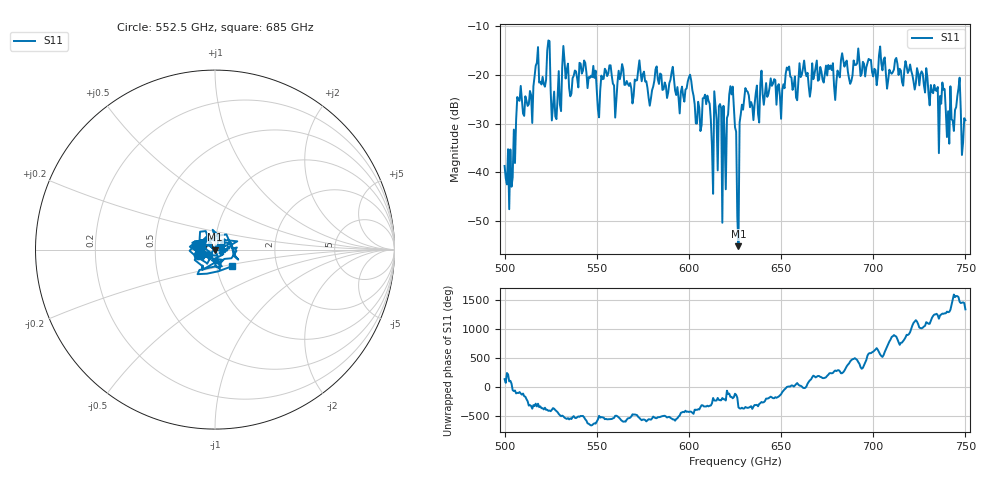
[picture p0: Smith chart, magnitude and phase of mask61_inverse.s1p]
!Created with skrf (http://scikit-rf.org).
# GHz S MA R 50.0
!freq magS11 angS11
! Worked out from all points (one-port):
!   401 points, 500 GHz to 750 GHz, reference 50 ohm
!   lowest |S11| = -55.2 dB at 626.9 GHz (marker M1), VSWR 1.00, Z = 50.2 + j0.0151 ohm
!   |S11| at or under -10 dB: start of sweep to end of sweep
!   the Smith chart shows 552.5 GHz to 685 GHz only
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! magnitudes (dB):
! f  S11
! 500 GHz  -38.7
! 503.8 GHz  -43.0
! 508.1 GHz  -25.3
! 513.8 GHz  -23.3
! 516.9 GHz  -18.1
! 523.8 GHz  -12.9
! 526.9 GHz  -23.4
! 531.2 GHz  -18.3
! 542.5 GHz  -19.1
! 551.2 GHz  -28.7
! 562.5 GHz  -20.8
! 593.8 GHz  -22.5
! 610 GHz  -24.2
! 611.9 GHz  -29.1
! 616.2 GHz  -26.4
! 619.4 GHz  -32.8
! 623.1 GHz  -24.0
! 625 GHz  -30.7
! 625.6 GHz  -31.6
! 626.9 GHz  -55.2
! 628.8 GHz  -26.1
! 631.2 GHz  -23.2
! 656.2 GHz  -23.0
! 687.5 GHz  -21.8
! 718.8 GHz  -19.6
! 740 GHz  -32.7
! 746.2 GHz  -22.7
! 750 GHz  -29.3
